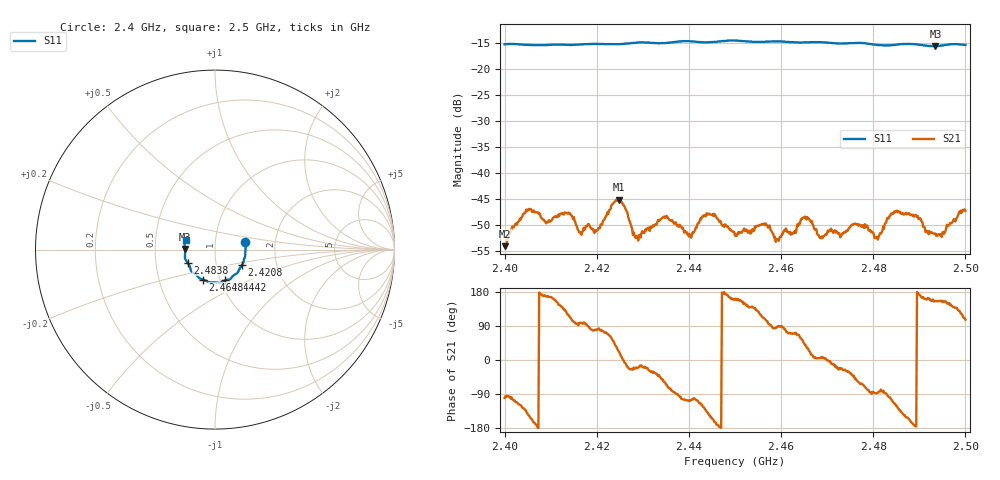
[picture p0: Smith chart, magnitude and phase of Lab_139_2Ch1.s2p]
# Hz S RI R 50
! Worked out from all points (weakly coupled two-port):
!   601 points, 2.4 GHz to 2.5 GHz, reference 50 ohm
!   highest |S21| = -45.09 dB at 2.4248 GHz (marker M1); lowest = -54.0 dB at 2.4 GHz (marker M2)
!   lowest |S11| = -15.6 dB at 2.4935 GHz (marker M3), VSWR 1.40, Z = 35.8 + j0.2 ohm
!   |S11| at or under -10 dB: start of sweep to end of sweep
!   S12 and S22 are empty: the file has one direction only
!   S11 on the Smith chart (normalised r, x): 2.4 GHz: 1.40, +0.12; 2.4208 GHz: 1.33, -0.24; 2.4442 GHz: 1.05, -0.37; 2.4648 GHz: 0.83, -0.29; 2.4838 GHz: 0.73, -0.11; 2.5 GHz: 0.72, +0.08
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2.4e9  0.1681 0.041  -0.000349 -0.00196  0 0  0 0
2.405167e9  0.1703 0.00762  -0.00373 -0.00256  0 0  0 0
2.413833e9  0.1631 -0.0496  -0.00207 0.00363  0 0  0 0
2.416667e9  0.1589 -0.0682  -0.00032 0.00254  0 0  0 0
2.420833e9  0.1506 -0.0871  0.000682 0.00314  0 0  0 0
2.424833e9  0.1364 -0.1071  0.00517 0.00206  0 0  0 0
2.4285e9  0.1282 -0.1258  0.00225 -0.0008  0 0  0 0
2.433333e9  0.108 -0.1401  0.00261 -0.00241  0 0  0 0
2.440167e9  0.0814 -0.1663  -0.000821 -0.00246  0 0  0 0
2.444167e9  0.0569 -0.1713  -0.00309 -0.00256  0 0  0 0
2.45e9  0.0246 -0.1863  -0.00235 0.000882  0 0  0 0
2.456333e9  -0.016 -0.1821  -0.00113 0.00308  0 0  0 0
2.459333e9  -0.0322 -0.1817  6.81e-05 0.00233  0 0  0 0
2.464833e9  -0.0683 -0.1667  0.00252 0.00272  0 0  0 0
2.466667e9  -0.0801 -0.1628  0.00337 0.000837  0 0  0 0
2.468667e9  -0.0885 -0.1582  0.00236 0.000288  0 0  0 0
2.476167e9  -0.1284 -0.1235  0.00214 -0.00244  0 0  0 0
2.480833e9  -0.1391 -0.0982  0.000143 -0.00245  0 0  0 0
2.483333e9  -0.1505 -0.0761  -0.000473 -0.00363  0 0  0 0
2.483833e9  -0.1532 -0.0721  -0.000904 -0.00399  0 0  0 0
2.4935e9  -0.1659 0.00272  -0.00239 0.00111  0 0  0 0
2.5e9  -0.1623 0.0527  -0.00124 0.00418  0 0  0 0
